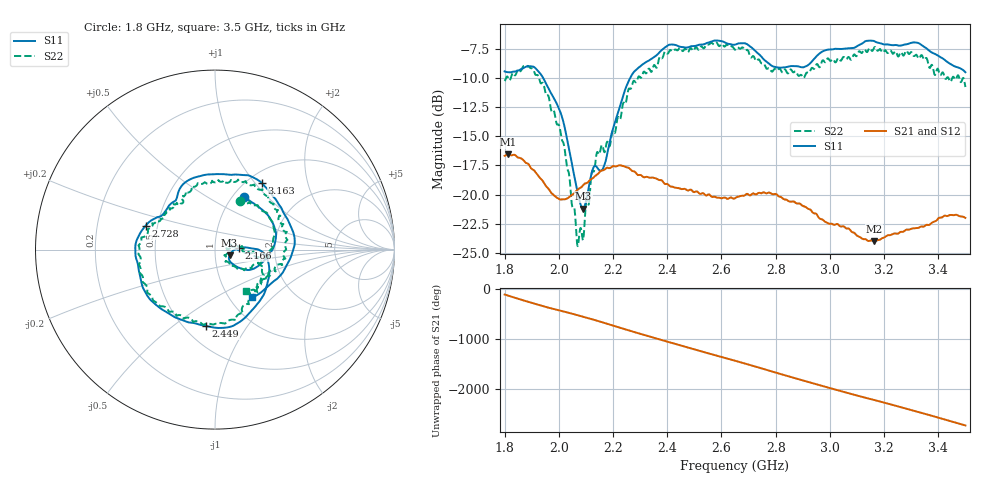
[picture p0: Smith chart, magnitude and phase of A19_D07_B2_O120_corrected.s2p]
! Created with skrf 1.9.0 (http://scikit-rf.org).
# Hz S RI R 50.0
!freq ReS11 ImS11 ReS21 ImS21 ReS12 ImS12 ReS22 ImS22
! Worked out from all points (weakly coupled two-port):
!   1601 points, 1.8 GHz to 3.5 GHz, reference 50 ohm
!   highest |S21| = -16.56 dB at 1.812 GHz (marker M1); lowest = -24.0 dB at 3.163 GHz (marker M2)
!   lowest |S11| = -21.2 dB at 2.09 GHz (marker M3), VSWR 1.19, Z = 58.7 - j3.77 ohm
!   |S11| at or under -10 dB: 1.942 GHz to 2.264 GHz (321.7 MHz wide, 15.3 % of centre)
!   |S22| runs from -24.4 to -7.0 dB; largest |S21 - S12| = 0.0028
!   S11 on the Smith chart (normalised r, x): 1.8 GHz: 1.13, +0.75; 2.166 GHz: 1.30, +0.02; 2.449 GHz: 0.64, -0.66; 2.728 GHz: 0.43, +0.14; 3.163 GHz: 1.16, +1.08; 3.5 GHz: 1.27, -0.75
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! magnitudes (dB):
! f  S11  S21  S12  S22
! 1.8 GHz  -9.5  -16.7  -16.7  -10.3
! 1.812 GHz  -9.5  -16.6  -16.6  -9.9
! 1.887 GHz  -9.0  -17.4  -17.4  -9.0
! 1.942 GHz  -10.0  -18.9  -18.9  -10.5
! 2.011 GHz  -13.3  -20.4  -20.4  -15.3
! 2.067 GHz  -19.5  -19.6  -19.6  -24.0
! 2.084 GHz  -21.0  -19.3  -19.3  -23.1
! 2.09 GHz  -21.2  -19.2  -19.2  -23.9
! 2.129 GHz  -17.6  -18.5  -18.5  -18.0
! 2.166 GHz  -17.6  -17.9  -17.9  -16.2
! 2.189 GHz  -15.4  -17.7  -17.7  -15.8
! 2.26 GHz  -10.2  -17.7  -17.8  -10.9
! 2.367 GHz  -7.9  -18.7  -18.7  -8.6
! 2.449 GHz  -7.4  -19.5  -19.5  -7.5
! 2.65 GHz  -7.2  -20.3  -20.3  -7.6
! 2.728 GHz  -7.8  -20.0  -20.0  -8.6
! 2.805 GHz  -9.1  -20.0  -20.1  -9.4
! 2.934 GHz  -8.6  -21.4  -21.4  -9.2
! 3.163 GHz  -6.9  -24.0  -23.9  -7.4
! 3.217 GHz  -7.2  -23.5  -23.4  -7.8
! 3.325 GHz  -7.0  -22.8  -22.8  -8.3
! 3.5 GHz  -9.5  -22.0  -22.0  -10.8
